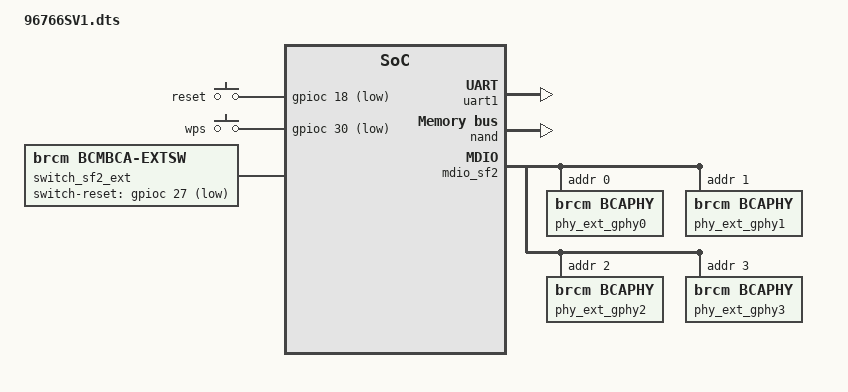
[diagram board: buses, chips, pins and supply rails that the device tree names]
#include "6766.dtsi"
#include <dt-bindings/input/linux-event-codes.h>

/ {
	memory_controller {
		memcfg = <(BP_DDR_TYPE_DDR4       | \
			BP_DDR_SPEED_1600_22_22_22    | \
			BP_DDR_TOTAL_SIZE_512MB      | \
			BP_DDR_DEVICE_WIDTH_16        | \
			BP_DDR_TOTAL_WIDTH_16BIT      | \
			BP_DDR_6766_DEFAULT)>; /* memcfg=0x101435 */
	};

	config {
			system_led = "oem:green:status";
			reset_led = "oem:green:internet";
	};

    gpio-keys-polled {
        compatible = "gpio-keys-polled";
        //#address-cells = <1>;
        //#size-cells = <0>;
        poll-interval = <20>;

        reset {
            label = "reset";
            gpios = <&gpioc 18 GPIO_ACTIVE_LOW>;
			linux,code = <KEY_RESTART>;
        };
        wps {
            label = "wps";
            gpios = <&gpioc 30 GPIO_ACTIVE_LOW>;
			linux,code = <KEY_WPS_BUTTON>;
        };
    };
/*
	buttons {
		compatible = "brcm,buttons";

		reset_button {
			ext_irq = <&bca_extintr 18 GPIO_ACTIVE_LOW (BCA_EXTINTR_TYPE_LOW_LEVEL | BCA_EXTINTR_TYPE_SENSE_EDGE)>;
			press {
				print = "Button Press -- Hold for 5s to do restore to default";
			};
			hold {
				rst_to_dflt = <5>;
			};
			release {
				reset = <0>;
			};
		};

		ses_button {
			ext_irq = <&bca_extintr 30 GPIO_ACTIVE_LOW (BCA_EXTINTR_TYPE_LOW_LEVEL | BCA_EXTINTR_TYPE_SENSE_EDGE)>;
			release {
				ses_short_period = <0>;
				ses_long_period = <3>;
			};
		};
	};
*/	

	switch_sf2_ext:0 {
	};
};

/*
&i2c1 {
	pinctrl-names = "default";
	pinctrl-0 = <&i2c_2_scl_pin_8 &i2c_2_sda_pin_9>;
	status = "okay";
};
*/

&led_ctrl {
	led0: sw_parallel_led_0 {
		active_low;
		pinctrl-0 = <&a_per_led_07_pin_7>;
		brightness = <255>;
		flash_rate = <0>;
		status="okay";
		label="oem:green:internet";
	};
	led1: sw_parallel_led_1 {
		active_low;
		pinctrl-0 = <&a_per_led_06_pin_6>;
		brightness = <255>;
		flash_rate = <0>;
		status="okay";
		label="oem:red:internet";
	};
	led2: sw_parallel_led_2 {
		active_low;
		pinctrl-0 = <&a_per_led_21_pin_21>;
		brightness = <255>;
		flash_rate = <0>;
		status = "okay";
		label = "oem:green:wifi";
	};
	led3: sw_parallel_led_3 {
		active_low;
		pinctrl-0 = <&a_per_led_10_pin_10>;
		brightness = <255>;
		flash_rate = <0>;
		status = "okay";
		label = "oem:green:wan";
	};
	led4: sw_parallel_led_4 {
		active_low;
		pinctrl-0 = <&a_per_led_12_pin_12>;
		brightness = <255>;
		flash_rate = <0>;
		status="okay";
		label="oem:green:wan2";
	};
	led6: sw_parallel_led_6 {
		active_low;
		pinctrl-0 = <&a_per_led_15_pin_15>;
		brightness = <255>;
		flash_rate = <0>;
		status="okay";
		label="oem:green:status";
	};
	led7: sw_parallel_led_7 {
		active_low;
		pinctrl-0 = <&a_per_led_19_pin_19>;
		brightness = <255>;
		flash_rate = <0>;
		status="okay";
		label="oem:green:wps";
	};
	led8: sw_parallel_led_8 {
		active_low;
		pinctrl-0 = <&a_per_led_20_pin_20>;
		brightness = <255>;
		flash_rate = <0>;
		status="okay";
		label="oem:green:lan4";
	};
	led9: sw_parallel_led_9 {
		active_low;
		pinctrl-0 = <&a_per_led_00_pin_0>;
		brightness = <255>;
		flash_rate = <0>;
		status="okay";
		label="oem:green:lan3";
	};
	
	led10: sw_parallel_led_10 {
		active_low;
		pinctrl-0 = <&a_per_led_16_pin_16>;
		brightness = <255>;
		flash_rate = <0>;
		status="okay";
		label="oem:green:lan2";
	};
	
	led11: sw_parallel_led_11 {
		active_low;
		pinctrl-0 = <&a_per_led_04_pin_4>;
		brightness = <255>;
		flash_rate = <0>;
		status="okay";
		label="oem:green:lan1";
	};	
};
/*
&legacy_leds {
#	wl-sess-led = <&led8>;
#	wl0-led = <&led7>;
#	wl1-led = <&led6>;
#	voip1-ok-led = <&led1>;
#	voip2-ok-led = <&led0>;
};
*/

&uart1 {
	pinctrl-names = "default";
	pinctrl-0 = <&a_uart1_sin_pin_33 &a_uart1_sout_pin_2>;
	status = "okay";
};

/*
&hs_uart0 {
	pinctrl-0 = <&b_uart2_rts_pin_3 &b_uart2_sin_pin_32 &b_uart2_sout_pin_34 &b_uart2_cts_pin_44>;
	pinctrl-names = "default";
	status = "okay";
};
*/

&nand {
	pinctrl-0 = <&nand_data_pins &nand_ctrl_pins &nand_wp_b_pin_59>;
	write-protect = <1>;
	status = "okay";
};

/*
&usb_ctrl {
    pinctrl-names="default";
    pinctrl-0 = <&usb0_pwr_pins &usb1_pwr_pins>;
    status = "okay";
    xhci-enable;
    pwron-bias-pull-up;
};

&usb0_xhci {
    status = "okay";
};
*/

&sysport {
	ethsw_ext = <&switch_sf2_ext>;
};

&mdio_sf2 {
		/* Port PHY mapping:
            port_imp -8#0- port_gphy <----> phy_gphy
                      # 6- port_sgmii1 <--> phy_serdes1 - phy_cascade1
                      ##5- port_sgmii0 <--> phy_serdes0 <--> port_ext_imp -8#0- port_ext_gphy0 <--> phy_ext_gphy0
                                                                           # 1- port_ext_gphy1 <--> phy_ext_gphy1
                                                                           # 2- port_ext_gphy2 <--> phy_ext_gphy2
                                                                           ##3- port_ext_gphy3 <--> phy_ext_gphy3
		 */
	phy_gphy {
		status = "okay";
	};

	phy_serdes0 {
		phy-extswitch;
		config-xfi="2500Base-X";
		phy-xfi-tx-polarity-inverse;
		status = "okay";
	};

	/* PHYs on external SF2 switch */
	phy_ext_gphy0:phy_ext_gphy0 {
		compatible = "brcm,bcaphy";
		phy-type = "EGPHY";
		reg = <0>;
		status = "okay";
	};
	phy_ext_gphy1:phy_ext_gphy1 {
		compatible = "brcm,bcaphy";
		phy-type = "EGPHY";
		reg = <1>;
		status = "okay";
	};
	phy_ext_gphy2:phy_ext_gphy2 {
		compatible = "brcm,bcaphy";
		phy-type = "EGPHY";
		reg = <2>;
		status = "okay";
	};
	phy_ext_gphy3:phy_ext_gphy3 {
		compatible = "brcm,bcaphy";
		phy-type = "EGPHY";
		reg = <3>;
		status = "okay";
	};
};

&switch_sf2_ext {                       /* linux/uboot: external sf2 */
	unit = <1>;
	sw-type = "SF2_SW";

	compatible = "brcm,bcmbca-extsw";
	extswsgmii_addr = <0x6>;
	switch-reset = <&gpioc 27 GPIO_ACTIVE_LOW>;

	ports {
		#address-cells = <1>;
		#size-cells = <0>;

		port_ext_gphy0 {
			phy-handle = <&phy_ext_gphy0>;
			reg = <0>;
			mac-type = "SF2MAC";
			phy-mode = "gmii";
			gmii-direct;
			status = "okay";
			mtd-mac-address = <&bdinfo 0xDE00>;
		};
		port_ext_gphy1 {
			phy-handle = <&phy_ext_gphy1>;
			reg = <1>;
			mac-type = "SF2MAC";
			phy-mode = "gmii";
			gmii-direct;
			status = "okay";
			mtd-mac-address = <&bdinfo 0xDE00>;
		};
		port_ext_gphy2 {
			phy-handle = <&phy_ext_gphy2>;
			reg = <2>;
			mac-type = "SF2MAC";
			phy-mode = "gmii";
			gmii-direct;
			status = "okay";
			mtd-mac-address = <&bdinfo 0xDE00>;
		};
		port_ext_gphy3 {
			phy-handle = <&phy_ext_gphy3>;
			reg = <3>;
			mac-type = "SF2MAC";
			phy-mode = "gmii";
			gmii-direct;
			status = "okay";
			mtd-mac-address = <&bdinfo 0xDE00>;
		};
		port_ext_imp {
			management;                     /* sf2_ext.p8 <--> root.p5  when P8_SGMII_SEL=1 */
			reg = <8>;
			mac-type = "SF2MAC";
			shrink-ipg;
			phy-mode = "gmii";
			gmii-direct;
			status = "okay";
		};
	};
};

&switch0 {

	ports {
	   port_gphy {
            phy-handle = <&phy_gphy>;
//          network-leds = <&led0 &led1>;
            status = "okay";
            mtd-mac-address = <&bdinfo 0xDE00>;
            mtd-mac-address-increment = <1>;
        };

		port_sgmii0 {
			phy-handle = <&phy_serdes0>;
			link = <&switch_sf2_ext>;
			shrink-ipg;
			status = "okay";
		};
	};
};

#if defined(CONFIG_BCM_MPM) || defined(CONFIG_BCM_MPM_MODULE)
&dt_reserved_bufmem {
	rsvd-size = <0x8000000>;
};
#endif

#if defined(CONFIG_BCM_PCIE_HCD) || defined(CONFIG_BCM_PCIE_HCD_MODULE)
&pcie0 {
	status = "disabled";
};
#endif //#if defined(CONFIG_BCM_PCIE_HCD) || defined(CONFIG_BCM_PCIE_HCD_MODULE)
&plat_rsvmem_uncached_device {

#ifdef DT_RESERVED_DHD_IN_UNCACHED_DEV
	 dt_reserved_dhd0:dt_reserved_dhd0 {
		rsvd-size = <0>;
	};
	 dt_reserved_dhd1:dt_reserved_dhd1 {
		rsvd-size = <0>;
	};
	 dt_reserved_dhd2:dt_reserved_dhd2 {
		rsvd-size = <0>;
	};
#endif

};
